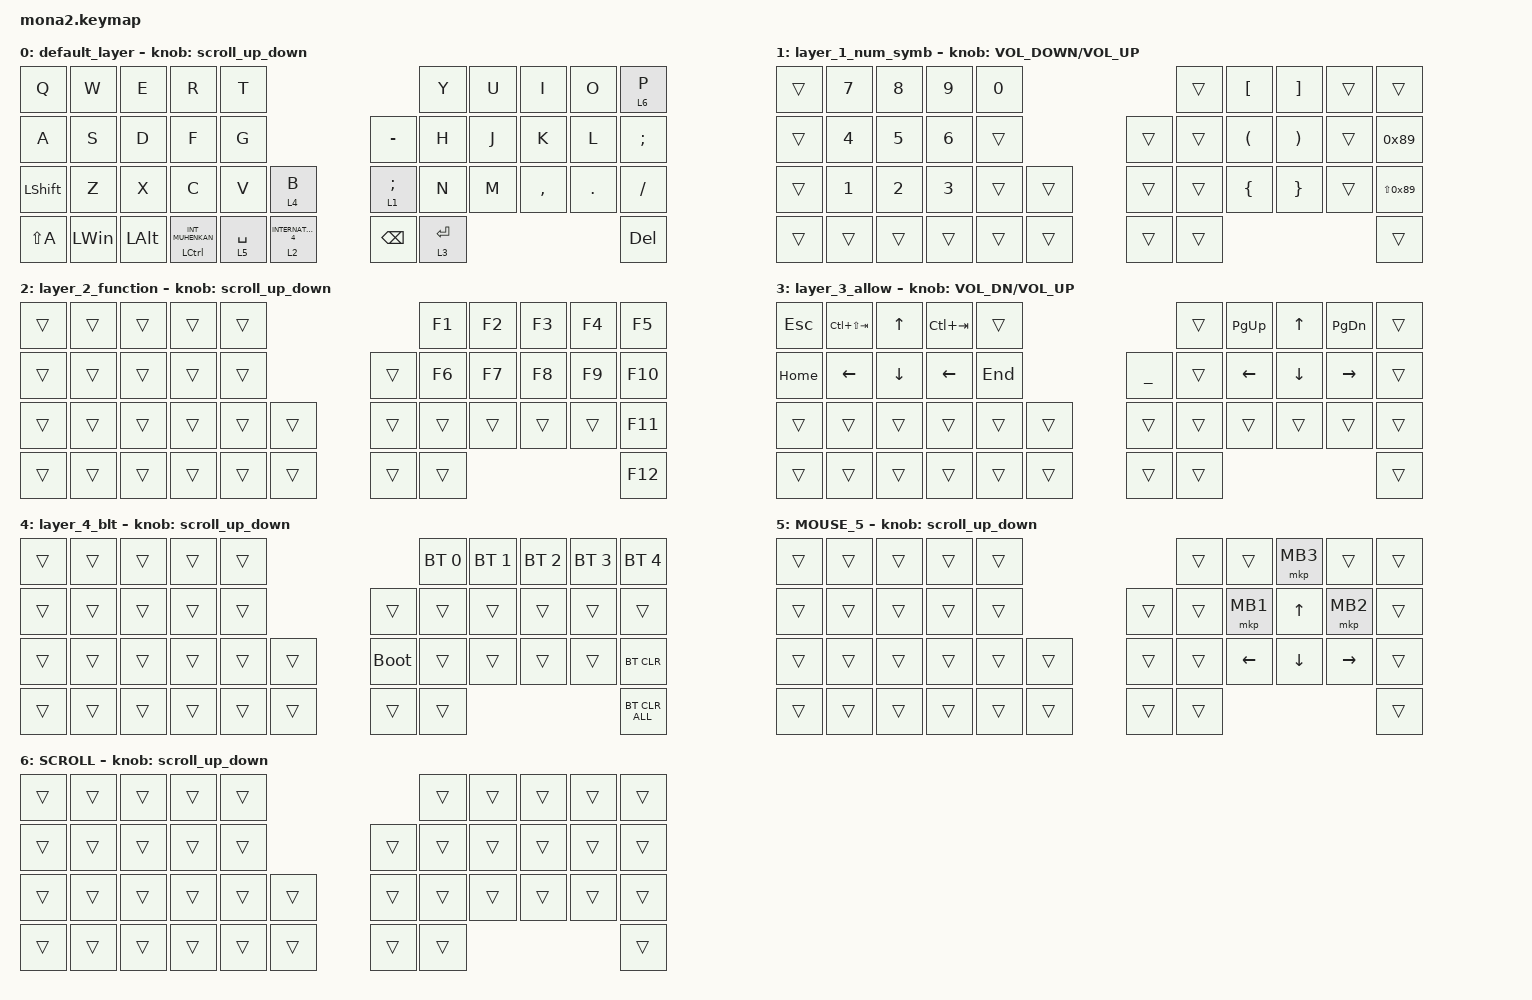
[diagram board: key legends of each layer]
#include <input/processors.dtsi>
#include <dt-bindings/zmk/input_transform.h>
#include <zephyr/dt-bindings/input/input-event-codes.h>
#include <behaviors.dtsi>
#include <dt-bindings/zmk/bt.h>
#include <dt-bindings/zmk/keys.h>
#include <dt-bindings/zmk/pointing.h>

#define ZMK_POINTING_DEFAULT_SCRL_VAL 100
#define MOUSE 5
#define SCROLL 6

&mt {
    flavor = "balanced";
    quick-tap-ms = <0>;
};

&lt {
    quick-tap-ms = <300>;
    flavor = "balanced";
};

/ {
    combos {
        compatible = "zmk,combos";

        layer4_ESC {
            bindings = <&lt 4 ESC>;
            key-positions = <39 38>;
        };

        tab {
            bindings = <&kp TAB>;
            key-positions = <11 12>;
        };
    };

    macros {
        to_layer_0: to_layer_0 {
            compatible = "zmk,behavior-macro-one-param";
            #binding-cells = <1>;
            bindings = <&to 0 &macro_param_1to1 &kp MACRO_PLACEHOLDER>;
            label = "TO_LAYER_0";
        };
    };

    behaviors {
        lt_to_layer_0: lt_to_layer_0 {
            compatible = "zmk,behavior-hold-tap";
            label = "LAYER_TAP_TO_0";
            bindings = <&mo>, <&to_layer_0>;

            #binding-cells = <2>;
            tapping-term-ms = <200>;
        };

        scroll_up_down: mouse_wheel_up_down {
            compatible = "zmk,behavior-sensor-rotate";
            #sensor-binding-cells = <0>;
            bindings = <&msc SCRL_DOWN>, <&msc SCRL_UP>;

            tap-ms = <20>;
        };

        scroll_right_left: mouse_wheel_right_left {
            compatible = "zmk,behavior-sensor-rotate";
            #sensor-binding-cells = <0>;
            bindings = <&msc SCRL_LEFT>, <&msc SCRL_RIGHT>;

            tap-ms = <20>;
        };
    };

    keymap {
        compatible = "zmk,keymap";

        default_layer {
            bindings = <
&kp Q           &kp W         &kp E         &kp R                          &kp T                                                             &kp Y        &kp U  &kp I      &kp O    &lt 6 P
&kp A           &kp S         &kp D         &kp F                          &kp G                                            &kp MINUS        &kp H        &kp J  &kp K      &kp L    &kp SEMICOLON
&kp LEFT_SHIFT  &kp Z         &kp X         &kp C                          &kp V        &lt 4 B                             &lt 1 SEMICOLON  &kp N        &kp M  &kp COMMA  &kp DOT  &kp SLASH
&kp LS(A)       &kp LEFT_WIN  &kp LEFT_ALT  &mt LEFT_CONTROL INT_MUHENKAN  &lt 5 SPACE  &lt_to_layer_0 2 INTERNATIONAL_4    &kp BACKSPACE    &lt 3 ENTER                             &kp DELETE
            >;

            sensor-bindings = <&scroll_up_down>;
        };

        layer_1_num_symb {
            bindings = <
&trans  &kp NUMBER_7  &kp NUMBER_8  &kp NUMBER_9  &kp NUMBER_0                    &trans  &kp LEFT_BRACKET      &kp RIGHT_BRACKET      &trans  &trans
&trans  &kp NUMBER_4  &kp NUMBER_5  &kp NUMBER_6  &trans                  &trans  &trans  &kp LEFT_PARENTHESIS  &kp RIGHT_PARENTHESIS  &trans  &kp 0x89
&trans  &kp NUMBER_1  &kp NUMBER_2  &kp NUMBER_3  &trans        &trans    &trans  &trans  &kp LEFT_BRACE        &kp RIGHT_BRACE        &trans  &kp LS(0x89)
&trans  &trans        &trans        &trans        &trans        &trans    &trans  &trans                                                       &trans
            >;

            sensor-bindings = <&inc_dec_kp C_VOLUME_DOWN C_VOLUME_UP>;
        };

        layer_2_function {
            bindings = <
&trans  &trans  &trans  &trans  &trans                    &kp F1  &kp F2  &kp F3  &kp F4  &kp F5
&trans  &trans  &trans  &trans  &trans            &trans  &kp F6  &kp F7  &kp F8  &kp F9  &kp F10
&trans  &trans  &trans  &trans  &trans  &trans    &trans  &trans  &trans  &trans  &trans  &kp F11
&trans  &trans  &trans  &trans  &trans  &trans    &trans  &trans                          &kp F12
            >;

            sensor-bindings = <&scroll_up_down>;
        };

        layer_3_allow {
            bindings = <
&kp ESCAPE  &kp LC(LS(TAB))  &kp UP_ARROW  &kp LC(TAB)     &trans                        &trans  &kp PAGE_UP     &kp UP_ARROW    &kp PAGE_DOWN    &trans
&kp HOME    &kp LEFT         &kp DOWN      &kp LEFT_ARROW  &kp END            &kp UNDER  &trans  &kp LEFT_ARROW  &kp DOWN_ARROW  &kp RIGHT_ARROW  &trans
&trans      &trans           &trans        &trans          &trans   &trans    &trans     &trans  &trans          &trans          &trans           &trans
&trans      &trans           &trans        &trans          &trans   &trans    &trans     &trans                                                   &trans
            >;

            sensor-bindings = <&inc_dec_kp C_VOL_DN C_VOL_UP>;
        };

        layer_4_blt {
            bindings = <
&trans  &trans  &trans  &trans  &trans                         &bt BT_SEL 0  &bt BT_SEL 1  &bt BT_SEL 2  &bt BT_SEL 3  &bt BT_SEL 4
&trans  &trans  &trans  &trans  &trans            &trans       &trans        &trans        &trans        &trans        &trans
&trans  &trans  &trans  &trans  &trans  &trans    &bootloader  &trans        &trans        &trans        &trans        &bt BT_CLR
&trans  &trans  &trans  &trans  &trans  &trans    &trans       &trans                                                  &bt BT_CLR_ALL
            >;

            sensor-bindings = <&scroll_up_down>;
        };

        MOUSE_5 {
            bindings = <
&trans  &trans  &trans  &trans  &trans                    &trans  &trans          &mkp MB3        &trans           &trans
&trans  &trans  &trans  &trans  &trans            &trans  &trans  &mkp MB1        &kp UP_ARROW    &mkp MB2         &trans
&trans  &trans  &trans  &trans  &trans  &trans    &trans  &trans  &kp LEFT_ARROW  &kp DOWN_ARROW  &kp RIGHT_ARROW  &trans
&trans  &trans  &trans  &trans  &trans  &trans    &trans  &trans                                                   &trans
            >;

            sensor-bindings = <&scroll_up_down>;
        };

        SCROLL {
            bindings = <
&trans  &trans  &trans  &trans  &trans                    &trans  &trans  &trans  &trans  &trans
&trans  &trans  &trans  &trans  &trans            &trans  &trans  &trans  &trans  &trans  &trans
&trans  &trans  &trans  &trans  &trans  &trans    &trans  &trans  &trans  &trans  &trans  &trans
&trans  &trans  &trans  &trans  &trans  &trans    &trans  &trans                          &trans
            >;

            sensor-bindings = <&scroll_up_down>;
        };
    };
};
